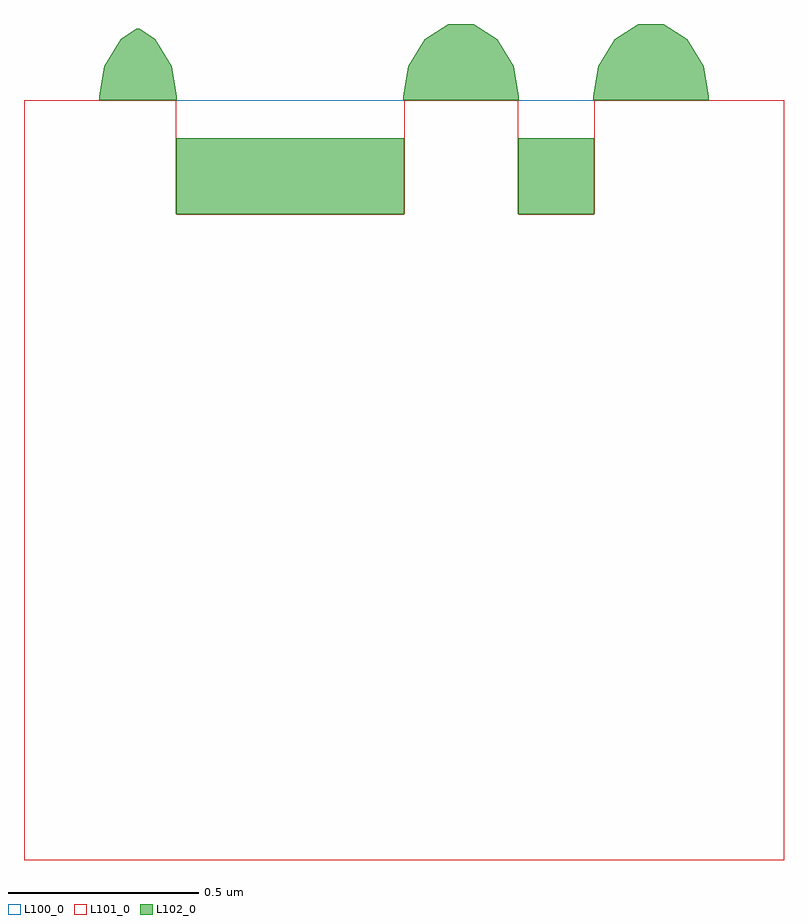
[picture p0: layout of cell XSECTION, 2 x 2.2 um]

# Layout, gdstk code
import gdstk
lib = gdstk.Library(unit=1e-6, precision=1e-09)
def R(c, l, rs):  # rectangles x0, y0, x1, y1
    for r in rs: c.add(gdstk.rectangle(r[:2], r[2:], *l))
def P(c, l, *ps):  # polygons
    for p in ps: c.add(gdstk.Polygon(p, *l))
L100_0 = (100, 0)
L101_0 = (101, 0)
L102_0 = (102, 0)

xsection = lib.new_cell('XSECTION')
R(xsection, L100_0, [(0,-2,2,0)])
P(xsection, L101_0, [(0,-2),(0,0),(0.4,0),(0.4,-0.3),(1,-0.3),(1,0),(1.3,0),(1.3,-0.3),(1.5,-0.3),(1.5,0),(2,0),(2,-2)])
R(xsection, L102_0, [(0.4,-0.3,1,-0.1), (1.3,-0.3,1.5,-0.1)])
P(xsection, L102_0, [(0.198,0),(0.198,0.01),(0.211,0.089),(0.254,0.16),(0.295,0.187),(0.305,0.187),(0.346,0.16),(0.389,0.089),(0.402,0.01),(0.402,0)],
  [(0.998,0),(0.998,0.01),(1.011,0.089),(1.054,0.16),(1.116,0.2),(1.184,0.2),(1.246,0.16),(1.289,0.089),(1.302,0.01),(1.302,0)],
  [(1.498,0),(1.498,0.01),(1.511,0.089),(1.554,0.16),(1.616,0.2),(1.684,0.2),(1.746,0.16),(1.789,0.089),(1.802,0.01),(1.802,0)])

lib.write_gds('XSECTION.gds')
